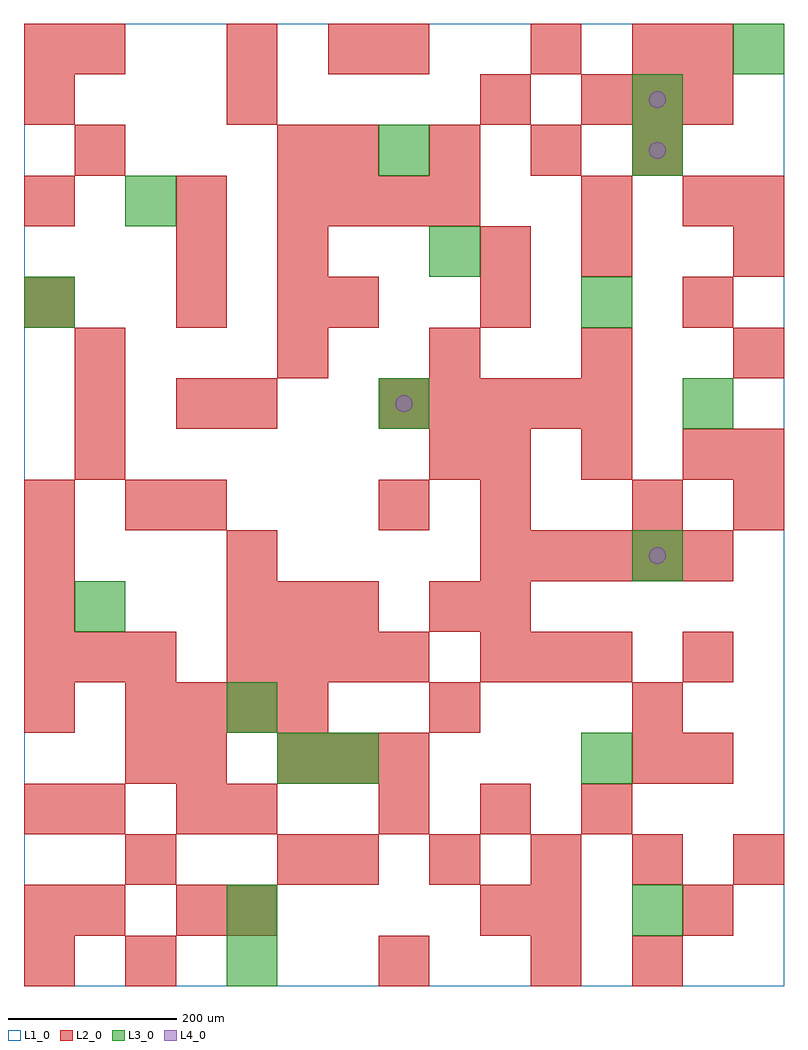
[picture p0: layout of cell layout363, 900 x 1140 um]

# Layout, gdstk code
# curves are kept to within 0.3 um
import gdstk
lib = gdstk.Library(unit=1e-6, precision=1e-09)
def R(c, l, rs):  # rectangles x0, y0, x1, y1
    for r in rs: c.add(gdstk.rectangle(r[:2], r[2:], *l))
def A(c, l, x, y, w, h, nx, ny, dx, dy):  # array of equal rectangles
    R(c, l, [(x+i*dx, y+j*dy, x+i*dx+w, y+j*dy+h) for i in range(nx) for j in range(ny)])
def P(c, l, *ps):  # polygons
    for p in ps: c.add(gdstk.Polygon(p, *l))
L1_0 = (1, 0)
L2_0 = (2, 0)
L3_0 = (3, 0)
L4_0 = (4, 0)

layout363 = lib.new_cell('layout363')
R(layout363, L1_0, [(0,0,900,1140)])
A(layout363, L2_0, 120, 0, 60, 60, 1, 3, 0, 120)
A(layout363, L2_0, 420, 0, 60, 60, 1, 3, 0, 540)
A(layout363, L2_0, 0, 60, 60, 60, 1, 4, 0, 120)
A(layout363, L2_0, 360, 120, 60, 60, 5, 1, 120, 0)
A(layout363, L2_0, 420, 180, 60, 60, 3, 1, 120, 0)
A(layout363, L2_0, 300, 240, 60, 60, 3, 1, 60, 0)
A(layout363, L2_0, 120, 300, 60, 60, 4, 1, 60, 0)
A(layout363, L2_0, 0, 360, 60, 60, 3, 1, 60, 0)
A(layout363, L2_0, 240, 360, 60, 60, 4, 1, 60, 0)
A(layout363, L2_0, 540, 360, 60, 60, 3, 1, 60, 0)
A(layout363, L2_0, 240, 420, 60, 60, 3, 1, 60, 0)
A(layout363, L2_0, 540, 480, 60, 60, 5, 1, 60, 0)
A(layout363, L2_0, 180, 540, 60, 60, 1, 3, 0, 120)
A(layout363, L2_0, 60, 600, 60, 60, 1, 3, 0, 60)
A(layout363, L2_0, 540, 600, 60, 60, 3, 1, 120, 0)
A(layout363, L2_0, 420, 660, 60, 60, 5, 1, 60, 0)
A(layout363, L2_0, 300, 720, 60, 60, 4, 1, 180, 0)
A(layout363, L2_0, 0, 780, 60, 60, 1, 3, 0, 120)
A(layout363, L2_0, 300, 900, 60, 60, 4, 1, 60, 0)
A(layout363, L2_0, 360, 960, 60, 60, 4, 1, 120, 0)
A(layout363, L2_0, 660, 1020, 60, 60, 3, 1, 60, 0)
R(layout363, L2_0, [(0,0,60,60), (600,0,660,60), (720,0,780,60), (60,60,120,120), (180,60,240,120), (240,60,300,120), (540,60,600,120), (600,60,660,120), (780,60,840,120), (300,120,360,180), (60,180,120,240), (180,180,240,240), (240,180,300,240), (180,240,240,300), (720,240,780,300), (780,240,840,300), (480,300,540,360), (720,300,780,360), (780,360,840,420), (480,420,540,480), (540,420,600,480), (0,480,60,540), (240,480,300,540), (0,540,60,600), (120,540,180,600), (540,540,600,600), (720,540,780,600), (840,540,900,600), (480,600,540,660), (840,600,900,660), (240,660,300,720), (300,780,360,840), (360,780,420,840), (540,780,600,840), (780,780,840,840), (180,840,240,900), (300,840,360,900), (540,840,600,900), (660,840,720,900), (840,840,900,900), (180,900,240,960), (660,900,720,960), (780,900,840,960), (840,900,900,960), (60,960,120,1020), (300,960,360,1020), (240,1020,300,1080), (540,1020,600,1080), (0,1080,60,1140), (60,1080,120,1140), (240,1080,300,1140), (360,1080,420,1140), (600,1080,660,1140), (720,1080,780,1140), (780,1080,840,1140)])
R(layout363, L3_0, [(240,0,300,60), (240,60,300,120), (720,60,780,120), (300,240,360,300), (360,240,420,300), (660,240,720,300), (240,300,300,360), (60,420,120,480), (720,480,780,540), (420,660,480,720), (780,660,840,720), (0,780,60,840), (660,780,720,840), (480,840,540,900), (120,900,180,960), (420,960,480,1020), (720,960,780,1020), (720,1020,780,1080), (840,1080,900,1140)])
P(layout363, L4_0, [(460,690),(459.239,693.827),(457.071,697.071),(453.827,699.239),(450,700),(446.173,699.239),(442.929,697.071),(440.761,693.827),(440,690),(440.761,686.173),(442.929,682.929),(446.173,680.761),(450,680),(453.827,680.761),(457.071,682.929),(459.239,686.173)],
  [(760,510),(759.239,513.827),(757.071,517.071),(753.827,519.239),(750,520),(746.173,519.239),(742.929,517.071),(740.761,513.827),(740,510),(740.761,506.173),(742.929,502.929),(746.173,500.761),(750,500),(753.827,500.761),(757.071,502.929),(759.239,506.173)],
  [(760,990),(759.239,993.827),(757.071,997.071),(753.827,999.239),(750,1000),(746.173,999.239),(742.929,997.071),(740.761,993.827),(740,990),(740.761,986.173),(742.929,982.929),(746.173,980.761),(750,980),(753.827,980.761),(757.071,982.929),(759.239,986.173)],
  [(760,1050),(759.239,1053.827),(757.071,1057.071),(753.827,1059.239),(750,1060),(746.173,1059.239),(742.929,1057.071),(740.761,1053.827),(740,1050),(740.761,1046.173),(742.929,1042.929),(746.173,1040.761),(750,1040),(753.827,1040.761),(757.071,1042.929),(759.239,1046.173)])

lib.write_gds('layout363.gds')
